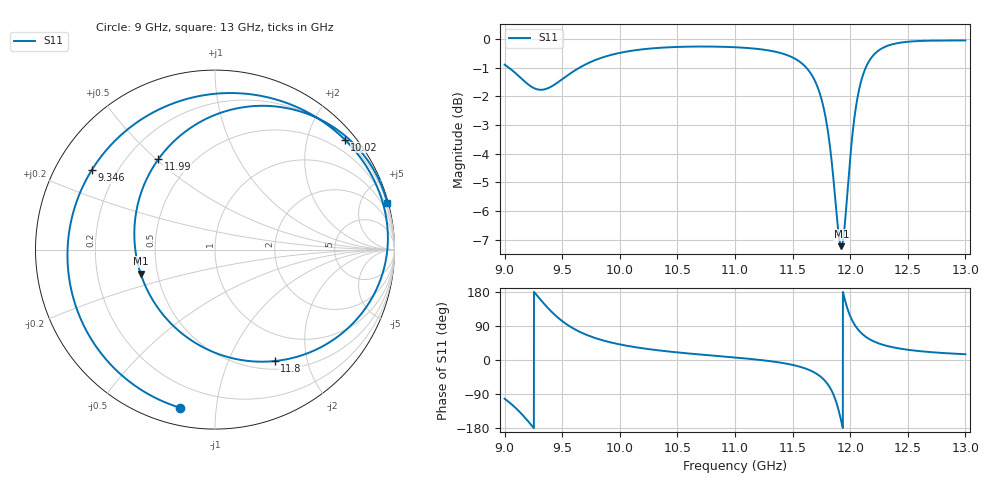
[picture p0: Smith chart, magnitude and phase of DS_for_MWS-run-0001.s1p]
! TOUCHSTONE file generated by CST DESIGN STUDIO
! Date and time: Tue Feb  4 17:09:27 2025
! Project name: C:\Work\MatlabApps\UnitCellOptimizationMatlab\CST\unitcell.cst
! Tree item: Tasks\Sweep1\SPara1\S-Parameters
! Header version: 2024
! Port assignment regex: !\s*Touchstone port\s*([0-9]+)\s*=\s*(CST MWS port|CST DES external port|CST DES block port)\s*(.+)\s* \(\"(.*)\"\)(\s*mode\s*([0-9]+))?.*
! Touchstone port assignment:
! Touchstone port 1 = CST DES external port 1 ("")
# GHz S MA R 50
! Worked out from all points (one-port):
!   4001 points, 9 GHz to 13 GHz, reference 50 ohm
!   lowest |S11| = -7.2 dB at 11.92 GHz (marker M1), VSWR 2.54, Z = 20.1 - j6.6 ohm
!   |S11| at or under -10 dB: nowhere
!   S11 on the Smith chart (normalised r, x): 9 GHz: 0.08, -0.80; 9.346 GHz: 0.11, +0.29; 10.02 GHz: 0.23, +2.71; 11.8 GHz: 0.61, -1.49; 11.99 GHz: 0.33, +0.51; 13 GHz: 0.15, +7.48
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9  0.9024 -102.3
9.1  0.8705 -127.7
9.203  0.8342 -161.3
9.272  0.8187 173.6
9.346  0.8174 147.2
9.421  0.8301 123.4
9.5  0.8513 102.7
9.723  0.9077 65.0
10  0.9464 41.2
10.015  0.9478 40.2
10.5  0.9693 20.0
11  0.9681 6.6
11.5  0.9292 -13.0
11.683  0.8543 -32.0
11.746  0.7923 -44.7
11.8  0.7043 -61.9
11.865  0.5412 -99.0
11.923  0.4355 -162.2
11.956  0.4822 156.3
11.992  0.5948 122.0
12  0.6212 116.0
12.033  0.72 95.8
12.071  0.8054 79.4
12.127  0.884 63.1
12.189  0.9312 51.4
12.314  0.9719 37.6
12.5  0.9896 27.0
13  0.9948 15.2
